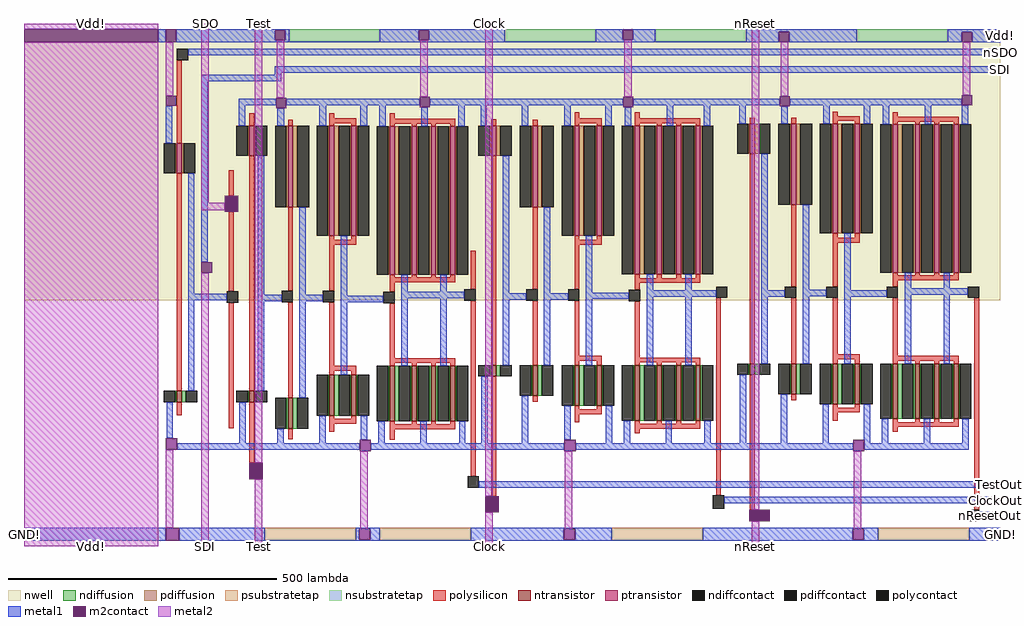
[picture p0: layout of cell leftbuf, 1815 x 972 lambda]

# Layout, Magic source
magic
tech tsmc180
<< nwell >>
rect 0 458 1815 962
<< polysilicon >>
rect 284 750 293 904
rect 419 782 428 805
rect 568 796 577 805
rect 491 782 500 793
rect 568 787 618 796
rect 568 782 577 787
rect 609 782 618 787
rect 680 795 689 805
rect 1024 796 1033 807
rect 1136 796 1145 807
rect 1504 800 1513 808
rect 680 786 802 795
rect 284 289 293 694
rect 381 652 390 699
rect 381 474 390 622
rect 284 244 293 268
rect 381 220 390 453
rect 419 289 428 726
rect 491 475 500 631
rect 680 781 689 786
rect 721 781 730 786
rect 757 781 766 786
rect 793 781 802 786
rect 869 782 878 794
rect 946 782 955 793
rect 1024 787 1074 796
rect 1024 782 1033 787
rect 1065 782 1074 787
rect 1136 787 1258 796
rect 1136 782 1145 787
rect 1177 782 1186 787
rect 1213 782 1222 787
rect 1249 782 1258 787
rect 1350 786 1359 797
rect 1427 786 1436 797
rect 1504 791 1554 800
rect 1504 786 1513 791
rect 1545 786 1554 791
rect 1616 799 1625 807
rect 1616 790 1738 799
rect 568 570 577 578
rect 609 570 618 578
rect 568 561 618 570
rect 568 475 577 561
rect 680 500 689 505
rect 721 500 730 505
rect 757 500 766 505
rect 793 500 802 505
rect 680 491 802 500
rect 680 473 689 491
rect 831 478 840 550
rect 491 276 500 454
rect 568 336 577 454
rect 680 350 689 452
rect 680 341 802 350
rect 680 336 689 341
rect 721 336 730 341
rect 757 336 766 341
rect 793 336 802 341
rect 568 327 618 336
rect 568 319 577 327
rect 609 319 618 327
rect 419 155 428 268
rect 568 237 577 243
rect 609 237 618 243
rect 568 228 618 237
rect 491 199 500 219
rect 568 213 577 228
rect 680 227 689 233
rect 721 227 730 233
rect 757 227 766 233
rect 793 227 802 233
rect 680 218 802 227
rect 680 198 689 218
rect 831 130 840 457
rect 869 337 878 726
rect 946 478 955 631
rect 1024 570 1033 578
rect 1065 570 1074 578
rect 1024 561 1074 570
rect 1024 478 1033 561
rect 1136 499 1145 506
rect 1177 499 1186 506
rect 1213 499 1222 506
rect 1249 499 1258 506
rect 1136 490 1258 499
rect 1136 477 1145 490
rect 946 337 955 457
rect 1024 354 1033 457
rect 1024 345 1074 354
rect 1024 337 1033 345
rect 1065 337 1074 345
rect 1136 351 1145 456
rect 1136 342 1258 351
rect 1136 337 1145 342
rect 1177 337 1186 342
rect 1213 337 1222 342
rect 1249 337 1258 342
rect 869 93 878 316
rect 946 269 955 280
rect 1024 255 1033 261
rect 1065 255 1074 261
rect 1024 246 1074 255
rect 1024 231 1033 246
rect 1136 228 1145 234
rect 1177 228 1186 234
rect 1213 228 1222 234
rect 1249 228 1258 234
rect 1136 219 1258 228
rect 1136 210 1145 219
rect 1287 95 1296 462
rect 1350 340 1359 730
rect 1427 483 1436 635
rect 1616 785 1625 790
rect 1657 785 1666 790
rect 1693 785 1702 790
rect 1729 785 1738 790
rect 1504 574 1513 582
rect 1545 574 1554 582
rect 1504 565 1554 574
rect 1504 483 1513 565
rect 1616 504 1625 509
rect 1657 504 1666 509
rect 1693 504 1702 509
rect 1729 504 1738 509
rect 1616 495 1738 504
rect 1616 483 1625 495
rect 1427 340 1436 462
rect 1504 357 1513 462
rect 1504 348 1554 357
rect 1504 340 1513 348
rect 1545 340 1554 348
rect 1616 354 1625 462
rect 1616 345 1738 354
rect 1616 340 1625 345
rect 1657 340 1666 345
rect 1693 340 1702 345
rect 1729 340 1738 345
rect 1350 68 1359 319
rect 1427 272 1436 283
rect 1504 258 1513 264
rect 1545 258 1554 264
rect 1504 249 1554 258
rect 1504 234 1513 249
rect 1616 231 1625 237
rect 1657 231 1666 237
rect 1693 231 1702 237
rect 1729 231 1738 237
rect 1616 222 1738 231
rect 1616 213 1625 222
rect 1767 68 1776 462
<< ndiffusion >>
rect 281 268 284 289
rect 293 268 301 289
rect 416 268 419 289
rect 428 268 431 289
rect 488 219 491 276
rect 500 219 508 276
rect 565 243 568 319
rect 577 243 585 319
rect 606 243 609 319
rect 618 243 621 319
rect 677 233 680 336
rect 689 233 697 336
rect 718 233 721 336
rect 730 233 733 336
rect 754 233 757 336
rect 766 233 769 336
rect 790 233 793 336
rect 802 233 805 336
rect 866 316 869 337
rect 878 316 886 337
rect 943 280 946 337
rect 955 280 963 337
rect 1021 261 1024 337
rect 1033 261 1041 337
rect 1062 261 1065 337
rect 1074 261 1077 337
rect 1133 234 1136 337
rect 1145 234 1153 337
rect 1174 234 1177 337
rect 1186 234 1189 337
rect 1210 234 1213 337
rect 1222 234 1225 337
rect 1246 234 1249 337
rect 1258 234 1261 337
rect 1347 319 1350 340
rect 1359 319 1367 340
rect 1424 283 1427 340
rect 1436 283 1444 340
rect 1501 264 1504 340
rect 1513 264 1521 340
rect 1542 264 1545 340
rect 1554 264 1557 340
rect 1613 237 1616 340
rect 1625 237 1633 340
rect 1654 237 1657 340
rect 1666 237 1669 340
rect 1690 237 1693 340
rect 1702 237 1705 340
rect 1726 237 1729 340
rect 1738 237 1741 340
<< pdiffusion >>
rect 281 694 284 750
rect 293 694 297 750
rect 416 726 419 782
rect 428 726 431 782
rect 488 631 491 782
rect 500 631 508 782
rect 565 578 568 782
rect 577 578 585 782
rect 606 578 609 782
rect 618 578 621 782
rect 677 505 680 781
rect 689 505 697 781
rect 718 505 721 781
rect 730 505 733 781
rect 754 505 757 781
rect 766 505 769 781
rect 790 505 793 781
rect 802 505 805 781
rect 866 726 869 782
rect 878 726 886 782
rect 943 631 946 782
rect 955 631 963 782
rect 1021 578 1024 782
rect 1033 578 1041 782
rect 1062 578 1065 782
rect 1074 578 1077 782
rect 1133 506 1136 782
rect 1145 506 1153 782
rect 1174 506 1177 782
rect 1186 506 1189 782
rect 1210 506 1213 782
rect 1222 506 1225 782
rect 1246 506 1249 782
rect 1258 506 1261 782
rect 1347 730 1350 786
rect 1359 730 1367 786
rect 1424 635 1427 786
rect 1436 635 1444 786
rect 1501 582 1504 786
rect 1513 582 1521 786
rect 1542 582 1545 786
rect 1554 582 1557 786
rect 1613 509 1616 785
rect 1625 509 1633 785
rect 1654 509 1657 785
rect 1666 509 1669 785
rect 1690 509 1693 785
rect 1702 509 1705 785
rect 1726 509 1729 785
rect 1738 509 1741 785
<< ntransistor >>
rect 284 268 293 289
rect 419 268 428 289
rect 491 219 500 276
rect 568 243 577 319
rect 609 243 618 319
rect 680 233 689 336
rect 721 233 730 336
rect 757 233 766 336
rect 793 233 802 336
rect 869 316 878 337
rect 946 280 955 337
rect 1024 261 1033 337
rect 1065 261 1074 337
rect 1136 234 1145 337
rect 1177 234 1186 337
rect 1213 234 1222 337
rect 1249 234 1258 337
rect 1350 319 1359 340
rect 1427 283 1436 340
rect 1504 264 1513 340
rect 1545 264 1554 340
rect 1616 237 1625 340
rect 1657 237 1666 340
rect 1693 237 1702 340
rect 1729 237 1738 340
<< ptransistor >>
rect 284 694 293 750
rect 419 726 428 782
rect 491 631 500 782
rect 568 578 577 782
rect 609 578 618 782
rect 680 505 689 781
rect 721 505 730 781
rect 757 505 766 781
rect 793 505 802 781
rect 869 726 878 782
rect 946 631 955 782
rect 1024 578 1033 782
rect 1065 578 1074 782
rect 1136 506 1145 782
rect 1177 506 1186 782
rect 1213 506 1222 782
rect 1249 506 1258 782
rect 1350 730 1359 786
rect 1427 635 1436 786
rect 1504 582 1513 786
rect 1545 582 1554 786
rect 1616 509 1625 785
rect 1657 509 1666 785
rect 1693 509 1702 785
rect 1729 509 1738 785
<< polycontact >>
rect 284 904 305 925
rect 373 622 398 652
rect 377 453 398 474
rect 479 454 500 475
rect 556 454 577 475
rect 668 452 689 473
rect 819 457 840 478
rect 419 125 444 155
rect 934 457 955 478
rect 1012 457 1033 478
rect 1125 456 1146 477
rect 1287 462 1308 483
rect 825 109 846 130
rect 1415 462 1436 483
rect 1492 462 1513 483
rect 1604 462 1625 483
rect 1755 462 1776 483
rect 858 63 883 93
rect 1281 70 1302 95
rect 1349 47 1387 68
rect 1755 47 1776 68
<< ndiffcontact >>
rect 260 268 281 289
rect 301 268 322 289
rect 395 268 416 289
rect 431 268 452 289
rect 467 219 488 276
rect 508 219 529 276
rect 544 243 565 319
rect 585 243 606 319
rect 621 243 642 319
rect 656 233 677 336
rect 697 233 718 336
rect 733 233 754 336
rect 769 233 790 336
rect 805 233 826 336
rect 845 316 866 337
rect 886 316 907 337
rect 922 280 943 337
rect 963 280 984 337
rect 1000 261 1021 337
rect 1041 261 1062 337
rect 1077 261 1098 337
rect 1112 234 1133 337
rect 1153 234 1174 337
rect 1189 234 1210 337
rect 1225 234 1246 337
rect 1261 234 1282 337
rect 1326 319 1347 340
rect 1367 319 1388 340
rect 1403 283 1424 340
rect 1444 283 1465 340
rect 1480 264 1501 340
rect 1521 264 1542 340
rect 1557 264 1578 340
rect 1592 237 1613 340
rect 1633 237 1654 340
rect 1669 237 1690 340
rect 1705 237 1726 340
rect 1741 237 1762 340
<< pdiffcontact >>
rect 260 694 281 750
rect 297 694 318 750
rect 395 726 416 782
rect 431 726 452 782
rect 467 631 488 782
rect 508 631 530 782
rect 544 578 565 782
rect 585 578 606 782
rect 621 578 642 782
rect 656 505 677 781
rect 697 505 718 781
rect 733 505 754 781
rect 769 505 790 781
rect 805 505 826 781
rect 845 726 866 782
rect 886 726 907 782
rect 922 631 943 782
rect 963 631 985 782
rect 1000 578 1021 782
rect 1041 578 1062 782
rect 1077 578 1098 782
rect 1112 506 1133 782
rect 1153 506 1174 782
rect 1189 506 1210 782
rect 1225 506 1246 782
rect 1261 506 1282 782
rect 1326 730 1347 786
rect 1367 730 1388 786
rect 1403 635 1424 786
rect 1444 635 1466 786
rect 1480 582 1501 786
rect 1521 582 1542 786
rect 1557 582 1578 786
rect 1592 509 1613 785
rect 1633 509 1654 785
rect 1669 509 1690 785
rect 1705 509 1726 785
rect 1741 509 1762 785
<< psubstratetap >>
rect 448 11 617 35
rect 662 11 831 35
rect 1093 11 1262 35
rect 1589 11 1758 35
<< nsubstratetap >>
rect 493 938 662 962
rect 894 938 1063 962
rect 1174 938 1343 962
rect 1549 938 1718 962
<< metal1 >>
rect 250 937 264 962
rect 283 960 493 962
rect 283 941 467 960
rect 486 941 493 960
rect 283 938 493 941
rect 662 960 894 962
rect 662 941 734 960
rect 753 941 894 960
rect 662 938 894 941
rect 1063 961 1174 962
rect 1063 942 1113 961
rect 1132 942 1174 961
rect 1063 938 1174 942
rect 1343 957 1549 962
rect 1343 938 1404 957
rect 1423 938 1549 957
rect 1718 956 1815 962
rect 1718 938 1744 956
rect 283 937 1744 938
rect 1763 937 1815 956
rect 305 913 1815 925
rect 466 881 1815 893
rect 466 877 478 881
rect 330 865 478 877
rect 264 750 276 819
rect 305 470 317 694
rect 330 528 342 865
rect 399 820 469 832
rect 399 782 411 820
rect 488 820 736 832
rect 471 782 484 815
rect 549 782 562 820
rect 625 782 638 820
rect 305 458 377 470
rect 305 289 317 458
rect 435 468 447 726
rect 435 456 479 468
rect 435 289 447 456
rect 512 468 524 631
rect 661 781 673 820
rect 755 820 1114 832
rect 739 781 751 817
rect 808 781 820 820
rect 849 782 861 820
rect 926 782 938 820
rect 1005 782 1017 820
rect 1081 782 1093 820
rect 1133 820 1405 832
rect 1117 782 1129 817
rect 1195 782 1207 820
rect 1264 782 1276 820
rect 1330 786 1342 820
rect 1424 820 1744 832
rect 1408 786 1420 818
rect 1486 786 1498 820
rect 1562 786 1574 820
rect 512 456 556 468
rect 512 276 524 456
rect 589 466 601 578
rect 702 473 714 505
rect 774 473 786 505
rect 589 454 668 466
rect 589 319 601 454
rect 702 461 819 473
rect 702 336 714 461
rect 774 336 786 461
rect 890 471 902 726
rect 890 459 934 471
rect 890 337 902 459
rect 967 471 979 631
rect 967 459 1012 471
rect 967 337 979 459
rect 1045 472 1057 578
rect 1045 460 1125 472
rect 1045 337 1057 460
rect 1158 476 1170 506
rect 1230 476 1242 506
rect 1158 464 1287 476
rect 1158 337 1170 464
rect 1230 337 1242 464
rect 1371 476 1383 730
rect 1371 464 1415 476
rect 1371 340 1383 464
rect 1448 477 1460 635
rect 1597 785 1609 820
rect 1675 785 1687 820
rect 1744 785 1756 820
rect 1448 465 1492 477
rect 1448 340 1460 465
rect 1525 476 1537 582
rect 1525 464 1604 476
rect 1525 340 1537 464
rect 1638 480 1650 509
rect 1710 480 1722 509
rect 1638 468 1755 480
rect 1638 340 1650 468
rect 1710 340 1722 468
rect 265 201 277 268
rect 400 192 412 268
rect 471 192 483 219
rect 549 192 561 243
rect 626 198 638 243
rect 285 180 624 192
rect 659 192 671 233
rect 737 192 749 233
rect 809 192 821 233
rect 850 192 862 316
rect 926 192 938 280
rect 1005 198 1017 261
rect 645 180 1005 192
rect 1082 192 1094 261
rect 1115 192 1127 234
rect 1193 192 1205 234
rect 1265 192 1277 234
rect 1331 192 1343 319
rect 1407 192 1419 283
rect 1485 192 1497 264
rect 1562 198 1574 264
rect 1026 180 1542 192
rect 1563 192 1574 198
rect 1595 192 1607 237
rect 1673 192 1685 237
rect 1745 192 1757 237
rect 1563 180 1757 192
rect 846 109 1815 121
rect 1302 80 1815 92
rect 1776 52 1815 64
rect 0 10 264 35
rect 289 11 448 35
rect 617 33 662 35
rect 617 12 623 33
rect 644 12 662 33
rect 617 11 662 12
rect 831 33 1093 35
rect 831 12 1004 33
rect 1025 12 1093 33
rect 831 11 1093 12
rect 1262 33 1589 35
rect 1262 12 1541 33
rect 1562 12 1589 33
rect 1262 11 1589 12
rect 1758 11 1815 35
rect 289 10 1815 11
<< m2contact >>
rect 0 937 250 962
rect 264 937 283 962
rect 467 941 486 960
rect 734 941 753 960
rect 1113 942 1132 961
rect 1404 938 1423 957
rect 1744 937 1763 956
rect 264 819 283 838
rect 469 815 488 834
rect 373 622 398 652
rect 330 509 350 528
rect 736 817 755 836
rect 1114 817 1133 836
rect 1405 818 1424 837
rect 1744 820 1763 839
rect 264 180 285 201
rect 624 177 645 198
rect 1005 177 1026 198
rect 1542 177 1563 198
rect 419 125 444 155
rect 858 63 883 93
rect 1349 47 1387 68
rect 264 10 289 35
rect 623 12 644 33
rect 1004 12 1025 33
rect 1541 12 1562 33
<< metal2 >>
rect 0 962 250 972
rect 0 0 250 937
rect 264 838 278 937
rect 330 639 344 972
rect 330 625 373 639
rect 264 35 278 180
rect 330 0 344 509
rect 429 155 443 972
rect 470 834 484 941
rect 737 836 751 941
rect 429 0 443 125
rect 625 33 639 177
rect 858 93 872 972
rect 1116 836 1130 942
rect 858 0 872 63
rect 1006 33 1020 177
rect 1353 68 1367 972
rect 1407 837 1421 938
rect 1746 839 1760 937
rect 1353 0 1367 47
rect 1543 33 1557 177
<< labels >>
rlabel metal1 0 10 0 35 1 GND!
rlabel metal2 0 972 250 972 5 Vdd!
rlabel metal2 330 972 344 972 5 SDO
rlabel metal2 429 972 443 972 5 Test
rlabel metal2 858 972 872 972 5 Clock
rlabel metal2 1353 972 1367 972 5 nReset
rlabel metal2 1353 0 1367 0 1 nReset
rlabel metal2 858 0 872 0 1 Clock
rlabel metal2 429 0 443 0 1 Test
rlabel metal2 330 0 344 0 1 SDI
rlabel metal2 0 0 250 0 1 Vdd!
rlabel metal1 1815 937 1815 962 7 Vdd!
rlabel metal1 1815 52 1815 64 7 nResetOut
rlabel metal1 1815 109 1815 121 7 TestOut
rlabel metal1 1815 80 1815 92 7 ClockOut
rlabel metal1 1815 10 1815 35 7 GND!
rlabel metal1 1815 881 1815 893 7 SDI
rlabel metal1 1815 913 1815 925 7 nSDO
<< end >>
